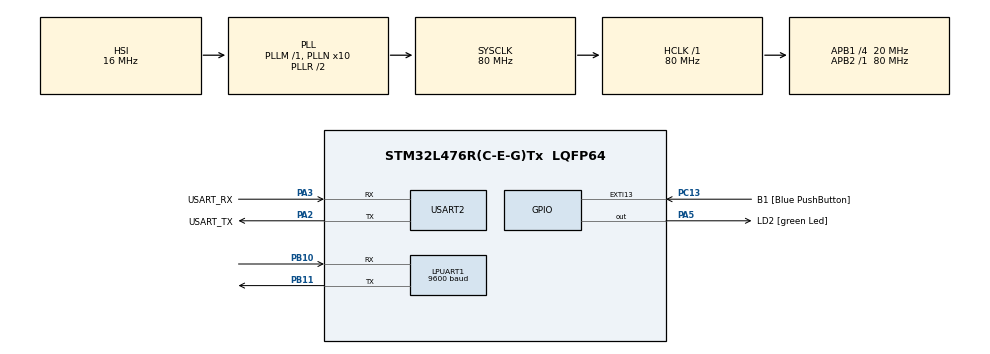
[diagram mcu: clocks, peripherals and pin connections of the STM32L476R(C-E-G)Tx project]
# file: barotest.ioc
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Dma.LPUART_RX.0.Direction=DMA_PERIPH_TO_MEMORY
Dma.LPUART_RX.0.Instance=DMA2_Channel7
Dma.LPUART_RX.0.MemDataAlignment=DMA_MDATAALIGN_BYTE
Dma.LPUART_RX.0.MemInc=DMA_MINC_ENABLE
Dma.LPUART_RX.0.Mode=DMA_CIRCULAR
Dma.LPUART_RX.0.PeriphDataAlignment=DMA_PDATAALIGN_BYTE
Dma.LPUART_RX.0.PeriphInc=DMA_PINC_DISABLE
Dma.LPUART_RX.0.Priority=DMA_PRIORITY_LOW
Dma.Request0=LPUART_RX
LPUART1.BaudRate=9600
LPUART1.WordLength=UART_WORDLENGTH_8B
Mcu.Family=STM32L4
Mcu.Name=STM32L476R(C-E-G)Tx
Mcu.Package=LQFP64
NVIC.DMA2_Channel7_IRQn=true\:0\:0\:false\:false\:true\:false\:true\:true
NVIC.LPUART1_IRQn=true\:0\:0\:false\:false\:true\:true\:true\:true
NVIC.PriorityGroup=NVIC_PRIORITYGROUP_4
PA13\ (JTMS-SWDIO).GPIO_Label=TMS
PA13\ (JTMS-SWDIO).Mode=Serial_Wire
PA13\ (JTMS-SWDIO).Signal=SYS_JTMS-SWDIO
PA14\ (JTCK-SWCLK).GPIO_Label=TCK
PA14\ (JTCK-SWCLK).Mode=Serial_Wire
PA14\ (JTCK-SWCLK).Signal=SYS_JTCK-SWCLK
PA2.GPIO_Label=USART_TX
PA2.GPIO_Mode=GPIO_MODE_AF_PP
PA2.GPIO_PuPd=GPIO_NOPULL
PA2.GPIO_Speed=GPIO_SPEED_FREQ_VERY_HIGH
PA2.Mode=Asynchronous
PA2.Signal=USART2_TX
PA3.GPIO_Label=USART_RX
PA3.GPIO_Mode=GPIO_MODE_AF_PP
PA3.GPIO_PuPd=GPIO_NOPULL
PA3.GPIO_Speed=GPIO_SPEED_FREQ_VERY_HIGH
PA3.Mode=Asynchronous
PA3.Signal=USART2_RX
PA5.GPIO_Label=LD2 [green Led]
PA5.GPIO_ModeDefaultOutputPP=GPIO_MODE_OUTPUT_PP
PA5.GPIO_PuPd=GPIO_NOPULL
PA5.GPIO_Speed=GPIO_SPEED_FREQ_LOW
PA5.Signal=GPIO_Output
PB10.Mode=Asynchronous
PB10.Signal=LPUART1_RX
PB11.Mode=Asynchronous
PB11.Signal=LPUART1_TX
PB3\ (JTDO-TRACESWO).GPIO_Label=SWO
PB3\ (JTDO-TRACESWO).Signal=SYS_JTDO-SWO
PC13.GPIO_Label=B1 [Blue PushButton]
PC13.GPIO_ModeDefaultEXTI=GPIO_MODE_IT_FALLING
PC13.GPIO_PuPd=GPIO_NOPULL
PC13.Signal=GPXTI13
PC14-OSC32_IN\ (PC14).Mode=LSE-External-Oscillator
PC14-OSC32_IN\ (PC14).Signal=RCC_OSC32_IN
PC15-OSC32_OUT\ (PC15).Mode=LSE-External-Oscillator
PC15-OSC32_OUT\ (PC15).Signal=RCC_OSC32_OUT
PH0-OSC_IN\ (PH0).Signal=RCC_OSC_IN
PH1-OSC_OUT\ (PH1).Signal=RCC_OSC_OUT
ProjectManager.HeapSize=0x200
ProjectManager.StackSize=0x400
ProjectManager.TargetToolchain=STM32CubeIDE
RCC.ADCFreq_Value=64000000
RCC.AHBFreq_Value=80000000
RCC.APB1CLKDivider=RCC_HCLK_DIV4
RCC.APB1Freq_Value=20000000
RCC.APB1TimFreq_Value=40000000
RCC.APB2Freq_Value=80000000
RCC.APB2TimFreq_Value=80000000
RCC.CortexFreq_Value=80000000
RCC.HCLKFreq_Value=80000000
RCC.HSE_VALUE=8000000
RCC.HSI_VALUE=16000000
RCC.MSI_VALUE=4000000
RCC.PLLN=10
RCC.PLLSourceVirtual=RCC_PLLSOURCE_HSI
RCC.PREFETCH_ENABLE=1
RCC.SYSCLKFreq_VALUE=80000000
RCC.SYSCLKSource=RCC_SYSCLKSOURCE_PLLCLK
RCC.USBFreq_Value=64000000
RCC.VCOOutputFreq_Value=160000000
USART2.VirtualMode-Asynchronous=VM_ASYNC
board=NUCLEO-L476RG

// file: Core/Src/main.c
/* USER CODE BEGIN Header */
/**
  ******************************************************************************
  * @file           : main.c
  * @brief          : Main program body
  ******************************************************************************
  * @attention
  *
  * Copyright (c) 2024 STMicroelectronics.
  * All rights reserved.
  *
  * This software is licensed under terms that can be found in the LICENSE file
  * in the root directory of this software component.
  * If no LICENSE file comes with this software, it is provided AS-IS.
  *
  ******************************************************************************
  */
/* USER CODE END Header */
#include "main.h"
#include "dma.h"
#include "usart.h"
#include "gpio.h"

/* USER CODE BEGIN Includes */
#include "PADS.h"
#include "string.h"
#include "nmea_parse.h"

/* USER CODE END Includes */

/* USER CODE BEGIN PD */
int a=0;
extern double finaltemp;
extern double finalpress;
extern double alt;
extern double alt1;
uint16_t oldPos=0;
uint16_t newPos=0;
uint8_t RxBuffer[RxBuffer_SIZE];
uint8_t DataBuffer[DataBuffer_SIZE];
GPS myData;

uint8_t commandgps[64];
extern UART_HandleTypeDef hlpuart1;

/* USER CODE END PD */

void SystemClock_Config(void);

int main(void)
{

  /* MCU Configuration--------------------------------------------------------*/

  /* Reset of all peripherals, Initializes the Flash interface and the Systick. */
  HAL_Init();

  /* Configure the system clock */
  SystemClock_Config();

  /* Initialize all configured peripherals */
  MX_GPIO_Init();
  MX_DMA_Init();
  MX_USART2_UART_Init();
  MX_LPUART1_UART_Init();
  /* USER CODE BEGIN 2 */

  memcpy((uint8_t*)commandgps,(uint8_t*)"$PMTK314,0,0,0,1,0,0,0,0,0,0,0,0,0,0*",sizeof("$PMTK314,0,0,0,1,0,0,0,0,0,0,0,0,0,0*"));
  a=checksumcalculate((uint8_t*)commandgps);
  HAL_UART_Transmit(&hlpuart1, (uint8_t*)commandgps, sizeof((uint8_t*)commandgps),HAL_MAX_DELAY);
  memset((uint8_t*)commandgps,'\0',64);
  HAL_Delay(50);
//  memcpy((uint8_t*)commandgps,(uint8_t*)"$PMTK335,2007,1,1,0,0,0*",sizeof("$PMTK335,2007,1,1,0,0,0*"));
//  a=checksumcalculate((uint8_t*)commandgps);
//  HAL_UART_Transmit_IT(&hlpuart1, (uint8_t*)commandgps, sizeof((uint8_t*)commandgps));
//  memset((uint8_t*)commandgps,'\0',64);
//    HAL_Delay(50);
//  memcpy((uint8_t*)commandgps,(uint8_t*)"$PMTK500,100,0,0,0.0,0.0*",sizeof("$PMTK500,100,0,0,0.0,0.0*"));
//  a=checksumcalculate((uint8_t*)commandgps);
//  HAL_UART_Transmit_IT(&hlpuart1, (uint8_t*)commandgps, sizeof((uint8_t*)commandgps));
//  memset((uint8_t*)commandgps,'\0',64);
//    HAL_Delay(50);
//  memcpy((uint8_t*)commandgps,(uint8_t*)"$PMTK300,100,0,0,0,0*",sizeof("$PMTK300,100,0,0,0,0*"));
//  a=checksumcalculate((uint8_t*)commandgps);
//  HAL_UART_Transmit_IT(&hlpuart1, (uint8_t*)commandgps, sizeof((uint8_t*)commandgps));
//  memset((uint8_t*)commandgps,'\0',64);
//    HAL_Delay(50);
//    memcpy((uint8_t*)commandgps,(uint8_t*)"$PMTK220,100*",sizeof("$PMTK220,100*"));
//     a=checksumcalculate((uint8_t*)commandgps);
//     HAL_UART_Transmit_IT(&hlpuart1, (uint8_t*)commandgps, sizeof((uint8_t*)commandgps));
//     memset((uint8_t*)commandgps,'\0',64);
//       HAL_Delay(50);

//  a=PADS_continuous_init(&hi2c2);
  HAL_UART_Receive_DMA(&hlpuart1, (uint8_t *)RxBuffer, RxBuffer_SIZE);

  a=checksumcalculate((uint8_t*)commandgps);

  /* USER CODE END 2 */

  /* Infinite loop */
  /* USER CODE BEGIN WHILE */
  while (1)
  {

	  //nmea_parse(&myData,(uint8_t *)DataBuffer);
	  //HAL_UART_Transmit(&huart2, (uint8_t *) DataBuffer, sizeof((uint8_t *) DataBuffer), HAL_MAX_DELAY);
	  HAL_Delay(1000);

    /* USER CODE END WHILE */

  }
}

void SystemClock_Config(void)
{
  RCC_OscInitTypeDef RCC_OscInitStruct = {0};
  RCC_ClkInitTypeDef RCC_ClkInitStruct = {0};

  /** Configure the main internal regulator output voltage
  */
  if (HAL_PWREx_ControlVoltageScaling(PWR_REGULATOR_VOLTAGE_SCALE1) != HAL_OK)
  {
    Error_Handler();
  }

  /** Initializes the RCC Oscillators according to the specified parameters
  * in the RCC_OscInitTypeDef structure.
  */
  RCC_OscInitStruct.OscillatorType = RCC_OSCILLATORTYPE_HSI;
  RCC_OscInitStruct.HSIState = RCC_HSI_ON;
  RCC_OscInitStruct.HSICalibrationValue = RCC_HSICALIBRATION_DEFAULT;
  RCC_OscInitStruct.PLL.PLLState = RCC_PLL_ON;
  RCC_OscInitStruct.PLL.PLLSource = RCC_PLLSOURCE_HSI;
  RCC_OscInitStruct.PLL.PLLM = 1;
  RCC_OscInitStruct.PLL.PLLN = 10;
  RCC_OscInitStruct.PLL.PLLP = RCC_PLLP_DIV7;
  RCC_OscInitStruct.PLL.PLLQ = RCC_PLLQ_DIV2;
  RCC_OscInitStruct.PLL.PLLR = RCC_PLLR_DIV2;
  if (HAL_RCC_OscConfig(&RCC_OscInitStruct) != HAL_OK)
  {
    Error_Handler();
  }

  /** Initializes the CPU, AHB and APB buses clocks
  */
  RCC_ClkInitStruct.ClockType = RCC_CLOCKTYPE_HCLK|RCC_CLOCKTYPE_SYSCLK
                              |RCC_CLOCKTYPE_PCLK1|RCC_CLOCKTYPE_PCLK2;
  RCC_ClkInitStruct.SYSCLKSource = RCC_SYSCLKSOURCE_PLLCLK;
  RCC_ClkInitStruct.AHBCLKDivider = RCC_SYSCLK_DIV1;
  RCC_ClkInitStruct.APB1CLKDivider = RCC_HCLK_DIV4;
  RCC_ClkInitStruct.APB2CLKDivider = RCC_HCLK_DIV1;

  if (HAL_RCC_ClockConfig(&RCC_ClkInitStruct, FLASH_LATENCY_4) != HAL_OK)
  {
    Error_Handler();
  }
}

void Error_Handler(void)
{
  __disable_irq();
  while (1)
  {
  }
}
